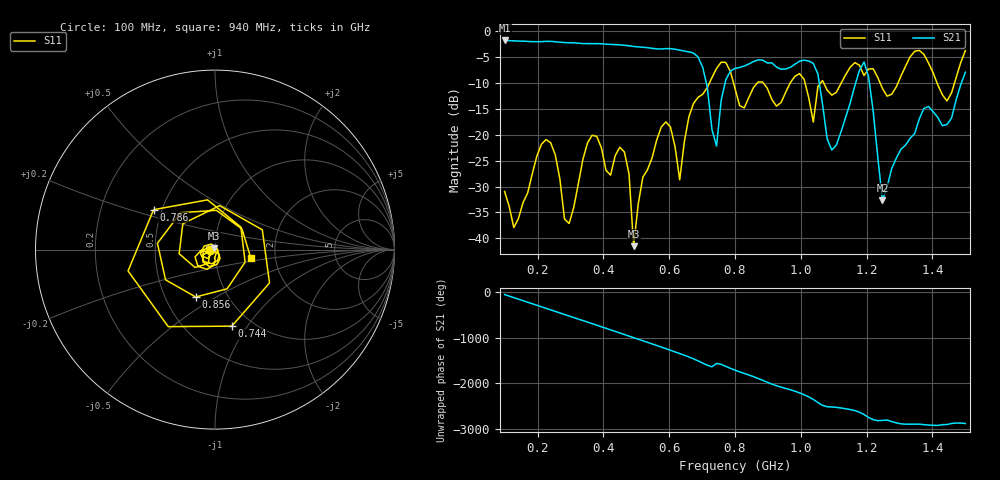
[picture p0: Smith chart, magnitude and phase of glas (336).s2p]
! NanoVNA-App
! Date: 2025-09-25 15:58:05
! Start: 100MHz Stop: 1,5GHz Points: 101
! S-Parameter data: F S11 S21 S12 S22
# Hz S RI R 50
!  Frequency  S11_Real  S11_Imag  S21_Real  S21_Imag  S12_Real  S12_Imag  S22_Real  S22_Imag
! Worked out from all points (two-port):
!   101 points, 100 MHz to 1.5 GHz, reference 50 ohm
!   highest |S21| = -1.80 dB at 100 MHz (marker M1); lowest = -32.7 dB at 1.248 GHz (marker M2)
!   |S21| within 3 dB of the highest: start of sweep to 684.3 MHz
!   lowest |S11| = -41.5 dB at 492 MHz (marker M3), VSWR 1.02, Z = 49.5 + j0.639 ohm
!   |S11| at or under -10 dB: start of sweep to 722.4 MHz; 795.5 MHz to 867.7 MHz (72.18 MHz wide, 8.68 % of centre); 886.1 MHz to 967.7 MHz (81.61 MHz wide, 8.8 % of centre) (the widest 3 of 7)
!   S12 and S22 are empty: the file has one direction only
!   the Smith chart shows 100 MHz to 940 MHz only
!   S11 on the Smith chart (normalised r, x): 100 MHz: 0.95, -0.01; 744 MHz: 0.81, -0.85; 786 MHz: 0.45, +0.24; 856 MHz: 0.71, -0.41; 940 MHz: 1.49, -0.14
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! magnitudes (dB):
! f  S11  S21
! 100 MHz  -30.9  -1.8
! 128 MHz  -37.9  -1.9
! 226 MHz  -20.9  -2.0
! 296 MHz  -37.1  -2.2
! 338 MHz  -24.7  -2.4
! 464 MHz  -23.3  -2.7
! 492 MHz  -41.5  -3.0
! 576 MHz  -18.5  -3.4
! 632 MHz  -28.7  -3.7
! 702 MHz  -12.2  -7.0
! 744 MHz  -7.2  -22.2
! 786 MHz  -7.8  -7.7
! 800 MHz  -11.1  -7.2
! 856 MHz  -10.9  -5.9
! 940 MHz  -13.8  -7.4
! 996 MHz  -8.2  -5.8
! 1.038 GHz  -17.6  -6.2
! 1.094 GHz  -12.3  -23.0
! 1.192 GHz  -8.6  -6.0
! 1.248 GHz  -11.1  -32.7
! 1.276 GHz  -12.2  -26.5
! 1.5 GHz  -3.8  -7.9
